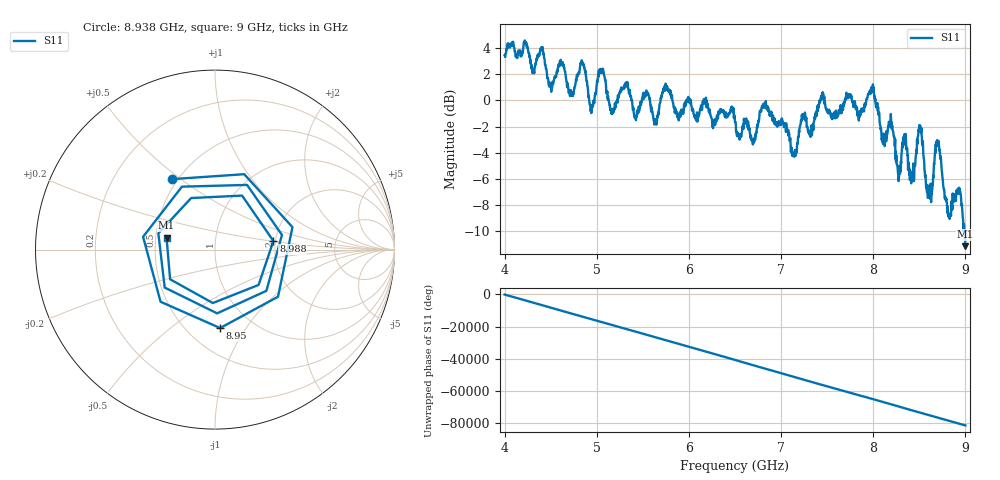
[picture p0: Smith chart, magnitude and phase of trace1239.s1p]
! Created with skrf 1.8.0 (http://scikit-rf.org).
# Hz S RI R 50.0
!freq ReS11 ImS11
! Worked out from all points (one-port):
!   1601 points, 4 GHz to 9 GHz, reference 50 ohm
!   lowest |S11| = -11.1 dB at 9 GHz (marker M1), VSWR 1.77, Z = 28.5 + j4.06 ohm
!   |S11| at or under -10 dB: 8.99032 GHz to end of sweep
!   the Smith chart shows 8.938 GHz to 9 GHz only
!   S11 on the Smith chart (normalised r, x): 8.938 GHz: 0.47, +0.46; 8.95 GHz: 0.71, -0.77; 8.988 GHz: 1.95, +0.21; 9 GHz: 0.57, +0.08
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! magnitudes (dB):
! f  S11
! 4 GHz  3.5
! 4.503 GHz  1.0
! 4.625 GHz  2.7
! 4.722 GHz  0.6
! 4.847 GHz  2.8
! 4.941 GHz  -1.0
! 5.047 GHz  2.2
! 5.162 GHz  -0.8
! 5.25 GHz  0.7
! 5.875 GHz  -1.1
! 6.5 GHz  -1.7
! 6.7 GHz  -3.1
! 6.834 GHz  0.0
! 7.125 GHz  -4.2
! 7.441 GHz  0.1
! 7.75 GHz  0.4
! 7.991 GHz  0.8
! 8.272 GHz  -5.5
! 8.375 GHz  -4.2
! 8.422 GHz  -5.8
! 8.509 GHz  -1.9
! 8.603 GHz  -6.8
! 8.697 GHz  -3.2
! 8.819 GHz  -8.9
! 8.938 GHz  -6.7
! 8.95 GHz  -7.2
! 8.988 GHz  -9.7
! 9 GHz  -11.1
